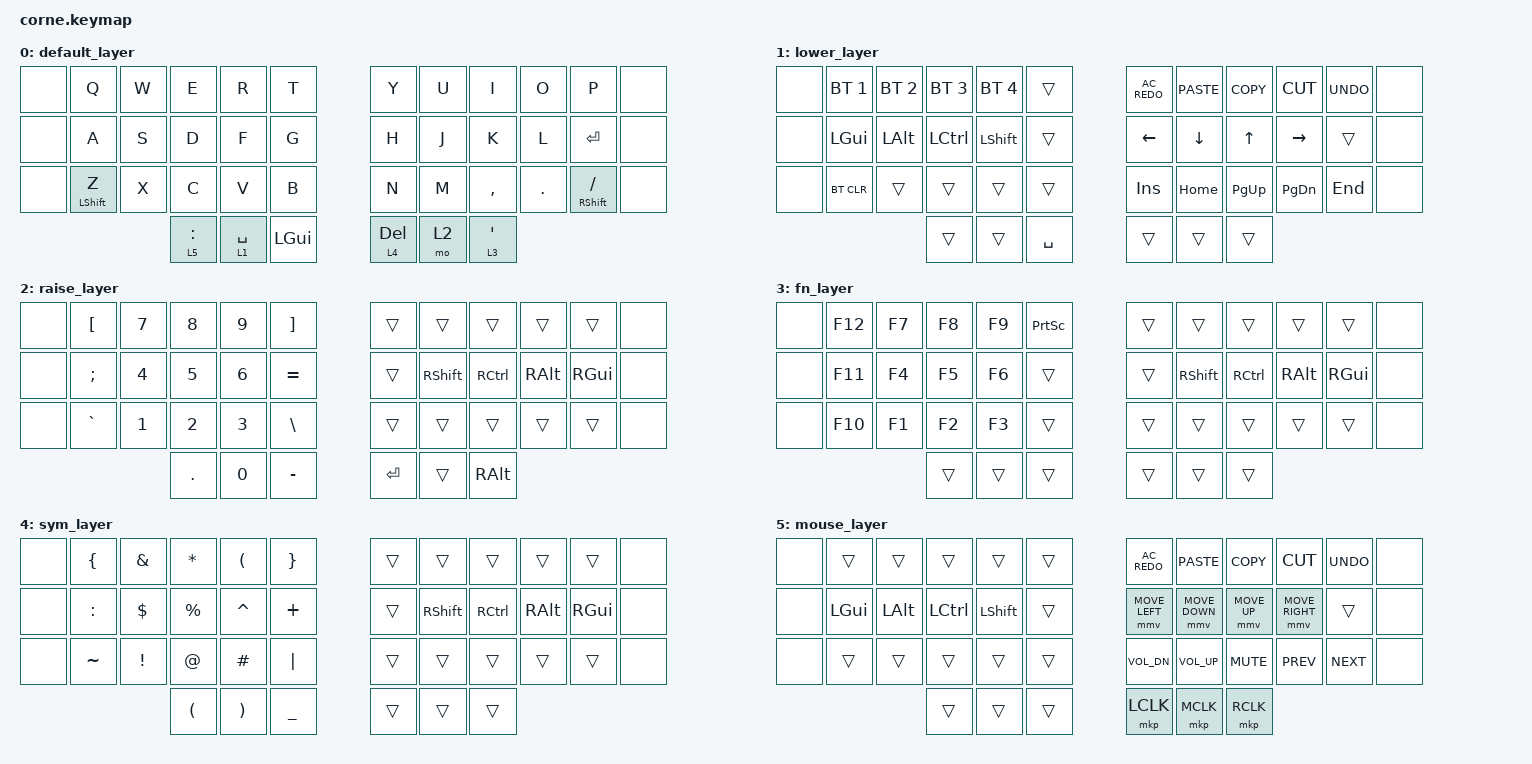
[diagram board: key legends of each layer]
/*
 * Copyright (c) 2020 The ZMK Contributors
 *
 * SPDX-License-Identifier: MIT
 */

#include <behaviors.dtsi>
#include <dt-bindings/zmk/keys.h>
#include <dt-bindings/zmk/bt.h>
#include <dt-bindings/zmk/pointing.h>

/ {
        combos {
                compatible = "zmk,combos";
                combo_tab {
                        timeout-ms = <50>;
                        key-positions = <13 14>;
                        bindings = <&kp TAB>;
                };
                combo_esc {
                        timeout-ms = <50>;
                        key-positions = <15 16>;
                        bindings = <&kp ESC>;
                };
                combo_bspace {
                        timeout-ms = <50>;
                        key-positions = <19 20>;
                        bindings = <&kp BSPC>;
                };
                combo_semicolon {
                        timeout-ms = <50>;
                        key-positions = <20 21>;
                        bindings = <&kp SEMICOLON>;
                };
                combo_minus {
                        timeout-ms = <50>;
                        key-positions = <21 22>;
                        bindings = <&kp MINUS>;
                };
                combo_shift {
                        timeout-ms = <50>;
                        key-positions = <38 39>;
                        bindings = <&kp LSHIFT>;
                };
        };
        keymap {
                compatible = "zmk,keymap";

                default_layer {
// ------------------------------------------------------------------
// |  Q  |  W  |  E  |  R  |  T  |   |  Y  |  U   |  I  |  O  |  P  |
// |  A  |  S  |  D  |  F  |  G  |   |  H  |  J   |  K  |  L  | RET |
// |  Z  |  X  |  C  |  V  |  B  |   |  N  |  M   |  ,  |  .  |  /  |
//                    | GUI | LWR | SPC |   | ENT | RSE  | ALT |
                        bindings = <
&none &kp Q        &kp W &kp E &kp R &kp T   &kp Y &kp U &kp I     &kp O   &kp P           &none 
&none &kp A        &kp S &kp D &kp F &kp G   &kp H &kp J &kp K     &kp L   &kp RET         &none 
&none &mt LSHIFT Z &kp X &kp C &kp V &kp B   &kp N &kp M &kp COMMA &kp DOT &mt RSHIFT FSLH &none 
              &lt 5 COLON &lt 1 SPACE &kp LGUI   &lt 4 DEL &mo 2 &lt 3 SQT
                        >;
                };
                lower_layer {

// -----------------------------------------------------------------
// |     |     |     |     |     |   |     |     |     |     |     | 
// | LGUI| BT2 | BT3 | BT4 | BT5 |   | LFT | DWN |  UP | RGT |     |
// |     |     |     |     |     |   |     |     |     |     |     |
//                    | GUI |     | SPC |   | ENT |     | ALT |
                        bindings = <
&none   &bt BT_SEL 1 &bt BT_SEL 2 &bt BT_SEL 3 &bt BT_SEL 4 &trans   &kp C_AC_REDO &kp K_PASTE &kp K_COPY &kp K_CUT &kp K_UNDO &none
&none   &kp LGUI     &kp LALT     &kp LCTRL    &kp LSHIFT   &trans   &kp LEFT      &kp DOWN    &kp UP     &kp RIGHT &trans     &none
&none   &bt BT_CLR   &trans       &trans       &trans       &trans   &kp INS       &kp HOME    &kp PG_UP  &kp PG_DN &kp END    &none
                            &trans &trans &kp SPACE   &trans &trans &trans
                        >;
                };
                raise_layer {

// -----------------------------------------------------------------
// |  !  |  @  |  #  |  $  |  %  |   |  ^  |  &  |  *  |  (  |  )  |
// |     |     |     |     |     |   |  -  |  =  |  [  |  ]  |  \  |
// |     |     |     |     |     |   |  _  |  +  |  {  |  }  | "|" |
//                    | GUI |     | SPC |   | ENT |     | ALT |
                        bindings = <
&none   &kp LBKT  &kp N7 &kp N8 &kp N9 &kp RBKT   &trans &trans     &trans    &trans   &trans   &none 
&none   &kp SEMI  &kp N4 &kp N5 &kp N6 &kp EQUAL  &trans &kp RSHIFT &kp RCTRL &kp RALT &kp RGUI &none 
&none   &kp GRAVE &kp N1 &kp N2 &kp N3 &kp BSLH   &trans &trans     &trans    &trans   &trans   &none 
                     &kp DOT &kp N0 &kp MINUS   &kp RET &trans &kp RALT
                        >;
                };
                fn_layer {

// -----------------------------------------------------------------
// |  !  |  @  |  #  |  $  |  %  |   |  ^  |  &  |  *  |  (  |  )  |
// |     |     |     |     |     |   |  -  |  =  |  [  |  ]  |  \  |
// |     |     |     |     |     |   |  _  |  +  |  {  |  }  | "|" |
//                    | GUI |     | SPC |   | ENT |     | ALT |
                        bindings = <
&none   &kp F12 &kp F7 &kp F8 &kp F9 &kp PSCRN   &trans &trans     &trans    &trans   &trans   &none 
&none   &kp F11 &kp F4 &kp F5 &kp F6 &trans      &trans &kp RSHIFT &kp RCTRL &kp RALT &kp RGUI &none 
&none   &kp F10 &kp F1 &kp F2 &kp F3 &trans      &trans &trans     &trans    &trans   &trans   &none 
                     &trans &trans &trans    &trans &trans &trans
                        >;
                };
                sym_layer {

// -----------------------------------------------------------------
// |  !  |  @  |  #  |  $  |  %  |   |  ^  |  &  |  *  |  (  |  )  |
// |     |     |     |     |     |   |  -  |  =  |  [  |  ]  |  \  |
// |     |     |     |     |     |   |  _  |  +  |  {  |  }  | "|" |
//                    | GUI |     | SPC |   | ENT |     | ALT |
                        bindings = <
&none   &kp LBRC   &kp AMPS   &kp STAR  &kp LPAR  &kp RBRC   &trans &trans     &trans    &trans   &trans   &none 
&none   &kp COLON  &kp DOLLAR &kp PRCNT &kp CARET &kp PLUS   &trans &kp RSHIFT &kp RCTRL &kp RALT &kp RGUI &none 
&none   &kp TILDE  &kp EXCL   &kp AT    &kp HASH  &kp PIPE   &trans &trans     &trans    &trans   &trans   &none 
                     &kp LPAR &kp RPAR &kp UNDERSCORE   &trans &trans &trans
                        >;
                };
                mouse_layer {

// -----------------------------------------------------------------
// |  !  |  @  |  #  |  $  |  %  |   |  ^  |  &  |  *  |  (  |  )  |
// |     |     |     |     |     |   |  -  |  =  |  [  |  ]  |  \  |
// |     |     |     |     |     |   |  _  |  +  |  {  |  }  | "|" |
//                    | GUI |     | SPC |   | ENT |     | ALT |
                        bindings = <
&none   &trans     &trans     &trans    &trans     &trans     &kp C_AC_REDO  &kp K_PASTE       &kp K_COPY   &kp K_CUT       &kp K_UNDO &none
&none   &kp LGUI   &kp LALT   &kp LCTRL &kp LSHIFT &trans     &mmv MOVE_LEFT &mmv MOVE_DOWN    &mmv MOVE_UP &mmv MOVE_RIGHT &trans     &none 
&none   &trans     &trans     &trans    &trans     &trans     &kp C_VOL_DN   &kp C_VOL_UP      &kp C_MUTE   &kp C_PREV      &kp C_NEXT &none 
                             &trans &trans &trans   &mkp LCLK &mkp MCLK &mkp RCLK
                        >;
                };
        };
};
